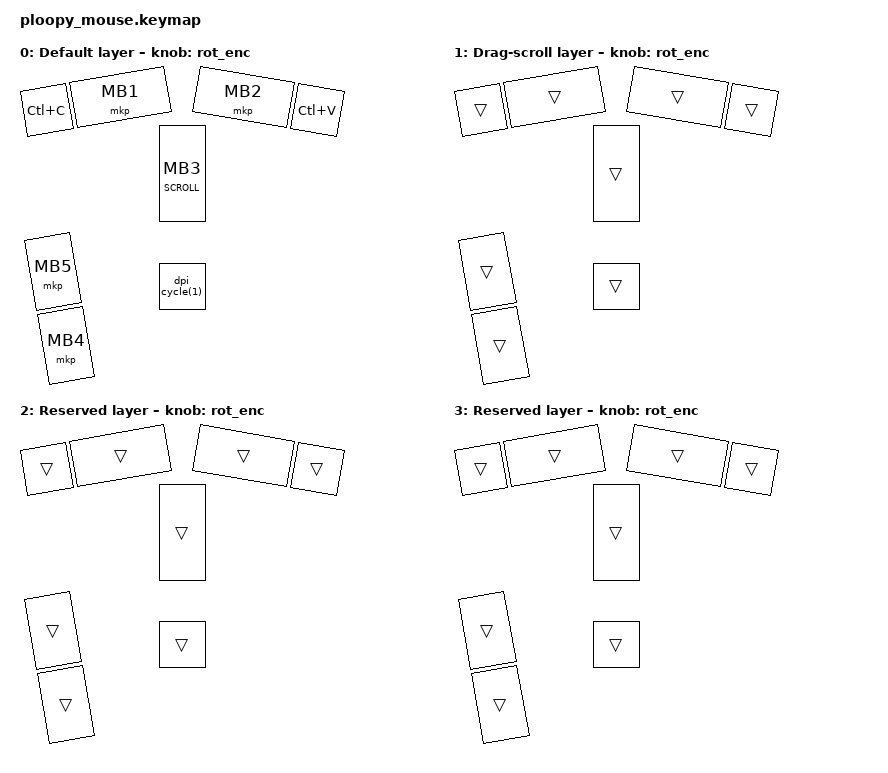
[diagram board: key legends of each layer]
// Copyright (c) 2025 George Norton
// SPDX-License-Identifier: MIT

#include <behaviors.dtsi>
#include <behaviors/mouse_keys.dtsi>
#include <behaviors/mouse_move.dtsi>
#include <dt-bindings/zmk/keys.h>
#include <dt-bindings/zmk/mouse.h>
#include <input/processors.dtsi>

#define BASE 0
#define SCROLL 1
#define RESERVED1 2
#define RESERVED2 3

/ {
    // Enable drag scroll is the SCROLL layer is active
    mouse_listener {
        input-processors = <&zip_xy_scaler 3 2>;

        scroller {
            layers = <SCROLL>;
            input-processors = <&zip_xy_to_scroll_mapper>;
        };
    };

    behaviors {
        // Scroll wheel behaviour, taken from badjeff
        ec_s: mouse_scroll {
                compatible = "zmk,behavior-input-two-axis";
                #binding-cells = <1>;
                x-input-code = <INPUT_REL_HWHEEL>;
                y-input-code = <INPUT_REL_WHEEL>;
                time-to-max-speed-ms = <177>;
                acceleration-exponent = <0>;
        };
        rot_enc: sensor_rotate {
                compatible = "zmk,behavior-sensor-rotate";
                #sensor-binding-cells = <0>;
                bindings = <&ec_s MOVE_Y(-37)>, <&ec_s MOVE_Y(37)>;
                tap-ms = <65>;
        };
        // Modified layer tap that supports mouse keys.
        lmkt: layer_tap {
            compatible = "zmk,behavior-hold-tap";
            #binding-cells = <2>;
            flavor = "tap-preferred";
            tapping-term-ms = <200>;
            bindings = <&mo>, <&mkp>;
            display-name = "Layer-Tap";
        };
        // Behaviour to cycle through DPI values on a keypress
        dpi_cycle: sensor_dpi_cycle {
            compatible = "zmk,behavior-sensor-attr-cycle";
            #binding-cells = <1>;
            values = < 100 300 600 900 1200 >;
            attr = <0>;
            sensor_device = <&mouse>;
            display-name = "DPI cycle";
            persistant;
        };
    };

    combos {
        compatible = "zmk,combos";
        combo_bootloader {
            timeout-ms = <500>;
            key-positions = <4 6>;
            bindings = <&bootloader>;
        };
        combo_studio_unlock {
            timeout-ms = <500>;
            key-positions = <0 3>;
            bindings = <&studio_unlock>;
        };
    };

    keymap {
        compatible = "zmk,keymap";

        base {
            bindings = <
                &kp LC(C)    &mkp MB1    &mkp MB2    &kp LC(V)
                &mkp MB5     &lmkt SCROLL MB3
                &mkp MB4     &dpi_cycle(1)
            >;
            sensor-bindings = < &rot_enc >;
            display-name = "Default layer";
        };

        scroll_layer {
            bindings = <
                &trans  &trans  &trans  &trans  &trans  &trans  &trans  &trans
            >;
            sensor-bindings = < &rot_enc >;
            display-name = "Drag-scroll layer";
        };

        reserved_layer_1 {
            bindings = <
                &trans  &trans  &trans  &trans  &trans  &trans  &trans  &trans
            >;
            sensor-bindings = < &rot_enc >;
            display-name = "Reserved layer";
        };

        reserved_layer_2 {
            bindings = <
                &trans  &trans  &trans  &trans  &trans  &trans  &trans  &trans
            >;
            sensor-bindings = < &rot_enc >;
            display-name = "Reserved layer";
        };
    };
};
